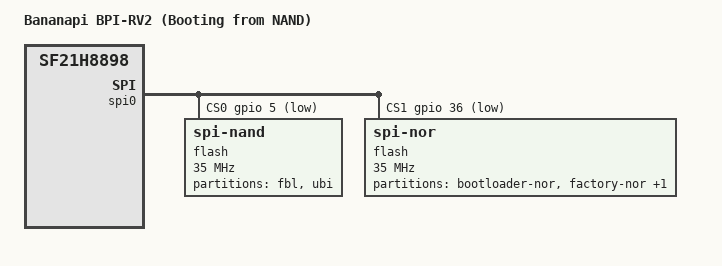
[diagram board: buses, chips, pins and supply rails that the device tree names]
/dts-v1/;
#include "sf21h8898_bananapi_bpi-rv2.dtsi"

/*
 * Bananapi BPI-RV2 — загрузка с NAND flash.
 * Подключает sf21h8898_bananapi_bpi-rv2.dtsi (v3).
 *
 * SPI0 шина: два устройства на одной шине, CS через отдельные GPIO.
 *
 * Схема P10:
 *   flash@0: W25N01GVZEIG SPI NAND 128MB
 *            CS: GPIO36 (SXGMII_MDIO/A5) → SPI0_NAND_CS
 *   flash@1: EN25QH128    SPI NOR  16MB
 *            CS: GPIO5  (SPI0_CSN/L22)   → SPI0_NOR_CS
 *
 * cs-gpios порядок: [0] = flash@0 CS, [1] = flash@1 CS.
 *   cs-gpios = <GPIO5 active_low>, <GPIO36 active_low>
 *   flash@0 (reg=0) → использует cs-gpios[0] = GPIO5
 *   flash@1 (reg=1) → использует cs-gpios[1] = GPIO36
 *
 * ПРИМЕЧАНИЕ о GPIO36:
 *   GPIO36 (SXGMII_MDIO/A5) используется как CS для NAND flash.
 *   Тот же GPIO36 физически подключён к SXGMII_MDIO линии EN8811H.
 *   mdio1 в dtsi переключает GPIO36/37 в FUNC_MODE0 (SXGMII_MDC/MDIO)
 *   при инициализации PHY драйвера. После инициализации PHY пин
 *   используется редко (только при MDIO операциях), а CS для NAND
 *   используется при каждом доступе к flash. Потенциальный конфликт
 *   маловероятен т.к. MDIO и SPI операции не происходят одновременно,
 *   но это архитектурное ограничение платы BPI-RV2.
 *
 * spi-max-frequency = 35MHz: безопасная частота для обоих чипов
 *   в dual-SPI режиме (W25N01: до 75MHz quad, EN25QH128: до 80MHz).
 * spi-tx/rx-bus-width = 2: dual SPI (2 линии данных).
 *   SPI0_HOLD (GPIO6) и SPI0_WP (GPIO7) задействованы как
 *   второй бит данных при dual-SPI передаче.
 */

/ {
	model = "Bananapi BPI-RV2 (Booting from NAND)";
	compatible = "bananapi,bpi-rv2-nand", "siflower,sf21h8898";
};

&spi0 {
	status = "okay";
	num-cs = <2>;
	/*
	 * cs-gpios[0] = GPIO5  (SPI0_CSN/L22)   → CS для flash@0 (NAND)
	 * cs-gpios[1] = GPIO36 (SXGMII_MDIO/A5) → CS для flash@1 (NOR)
	 *
	 * ВАЖНО: порядок cs-gpios соответствует reg = <0> и reg = <1>.
	 * GPIO5  — штатный аппаратный CS0 SPI0 (FUNC_MODE0 = SPI0_CSN).
	 * GPIO36 — используется как программный GPIO CS (GPIO_MODE).
	 */
	cs-gpios = <&gpio 5 GPIO_ACTIVE_LOW>, <&gpio 36 GPIO_ACTIVE_LOW>;

	/*
	 * NAND flash: Winbond W25N01GVZEIG, 1Gbit (128MB).
	 * Схема P10: U14, подключён к SPI0.
	 * Используется как основной загрузочный носитель.
	 * Содержит UBI том с factory данными и rootfs FIT image.
	 *
	 * Разметка:
	 *   0x000000 - 0x01FFFF (128KB):  fbl — First Boot Loader (read-only)
	 *   0x020000 - конец    (~128MB): ubi — UBI том
	 *     ├── factory: MAC адреса, заводские параметры (nvmem)
	 *     └── fit:     корневая ФС + ядро в формате FIT image
	 */
	flash@0 {
		compatible = "spi-nand";
		reg = <0>;
		spi-max-frequency = <35000000>;
		spi-tx-bus-width = <2>;
		spi-rx-bus-width = <2>;

		partitions {
			compatible = "fixed-partitions";
			#address-cells = <1>;
			#size-cells = <1>;

			/*
			 * FBL: First Boot Loader.
			 * 128KB, read-only — защита от случайной перезаписи.
			 * Содержит первичный загрузчик SF21 (до U-Boot).
			 */
			partition@0 {
				label = "fbl";
				reg = <0x0 0x20000>;
				read-only;
			};

			/*
			 * UBI: основной раздел.
			 * Размер: 0 = занимает всё оставшееся пространство NAND.
			 * compatible = "linux,ubi": ядро монтирует как UBI том.
			 *
			 * UBI volumes:
			 *   factory: заводские данные
			 *     nvmem layout: MAC адрес @ offset 0, 6 байт.
			 *     mac-base: базовый MAC для всех портов.
			 *       index 0: LAN MAC (xgmac0,1,2,3,5)
			 *       index 1: WAN MAC (xgmac4, base MAC + 1)
			 *   fit: корневая ФС + ядро (FIT image)
			 *     rootdisk: ссылка используется в chosen.rootdisk
			 *     для монтирования root ФС из UBI volume.
			 */
			partition@20000 {
				label = "ubi";
				reg = <0x20000 0x0>;
				compatible = "linux,ubi";

				volumes {
					factory: ubi-volume-factory {
						volname = "factory";

						nvmem-layout {
							compatible = "fixed-layout";
							#address-cells = <1>;
							#size-cells = <1>;

							macaddr_factory_0: macaddr@0 {
								compatible = "mac-base";
								reg = <0x0 0x6>;
								#nvmem-cell-cells = <1>;
							};
						};
					};

					rootdisk: ubi-volume-fit {
						volname = "fit";
					};
				};
			};
		};
	};

	/*
	 * NOR flash: EON EN25QH128, 128Mbit (16MB).
	 * Схема P10: U24, подключён к SPI0.
	 * Используется для хранения резервного загрузчика и прошивки.
	 *
	 * Разметка:
	 *   0x000000 - 0x08FFFF (576KB):   bootloader-nor (read-only)
	 *     Содержит U-Boot для NOR boot.
	 *   0x090000 - 0x09FFFF (64KB):    factory-nor
	 *     Заводские параметры, MAC адреса (дублирует NAND factory).
	 *   0x0A0000 - 0xFFFFFF (~15.4MB): firmware-nor
	 *     Резервная прошивка для NOR boot (альтернатива NAND).
	 */
	flash@1 {
		compatible = "jedec,spi-nor";
		reg = <1>;
		spi-max-frequency = <35000000>;
		spi-tx-bus-width = <2>;
		spi-rx-bus-width = <2>;

		partitions {
			compatible = "fixed-partitions";
			#address-cells = <1>;
			#size-cells = <1>;

			partition@0 {
				label = "bootloader-nor";
				reg = <0x0 0x90000>;
				read-only;
			};

			partition@90000 {
				label = "factory-nor";
				reg = <0x90000 0x10000>;
			};

			partition@a0000 {
				label = "firmware-nor";
				reg = <0xa0000 0xf60000>;
			};
		};
	};
};
